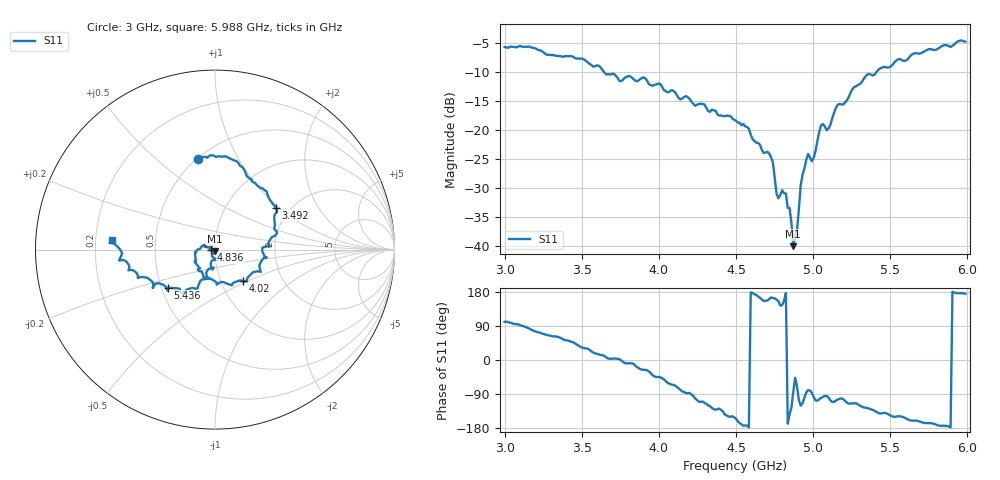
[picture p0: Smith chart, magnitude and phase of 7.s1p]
! Saved from nanovna library
# Hz S RI R 50
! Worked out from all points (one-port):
!   250 points, 3 GHz to 5.988 GHz, reference 50 ohm
!   lowest |S11| = -40.0 dB at 4.872 GHz (marker M1), VSWR 1.02, Z = 50.1 - j0.994 ohm
!   |S11| at or under -10 dB: 3.644 GHz to 5.412 GHz (1.768 GHz wide, 39 % of centre)
!   S11 on the Smith chart (normalised r, x): 3 GHz: 0.50, +0.69; 3.492 GHz: 1.69, +0.95; 4.02 GHz: 1.28, -0.48; 4.836 GHz: 0.96, -0.01; 5.436 GHz: 0.54, -0.26; 5.988 GHz: 0.27, +0.04
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3e9  -0.0972 0.5075
3.156e9  0.0602 0.5194
3.384e9  0.2524 0.3439
3.492e9  0.3382 0.2343
3.672e9  0.3012 0.0185
3.756e9  0.2626 -0.00573
3.9e9  0.2543 -0.1248
4.02e9  0.1586 -0.1757
4.128e9  0.0489 -0.1817
4.5e9  -0.1085 -0.0511
4.716e9  -0.0589 0.02
4.74e9  -0.05 0.0151
4.764e9  -0.026 0.00995
4.824e9  -0.0283 0.00158
4.836e9  -0.0208 -0.00437
4.848e9  -0.0171 -0.0127
4.872e9  0.00105 -0.00992
4.896e9  0.00489 -0.0126
4.92e9  -0.0169 -0.0287
4.968e9  0.0111 -0.0611
4.992e9  0.00329 -0.0536
5.052e9  -0.0188 -0.108
5.1e9  -0.0159 -0.1012
5.16e9  -0.0408 -0.1596
5.244e9  -0.0884 -0.1905
5.436e9  -0.2644 -0.2124
5.616e9  -0.376 -0.1578
5.988e9  -0.5728 0.0522
